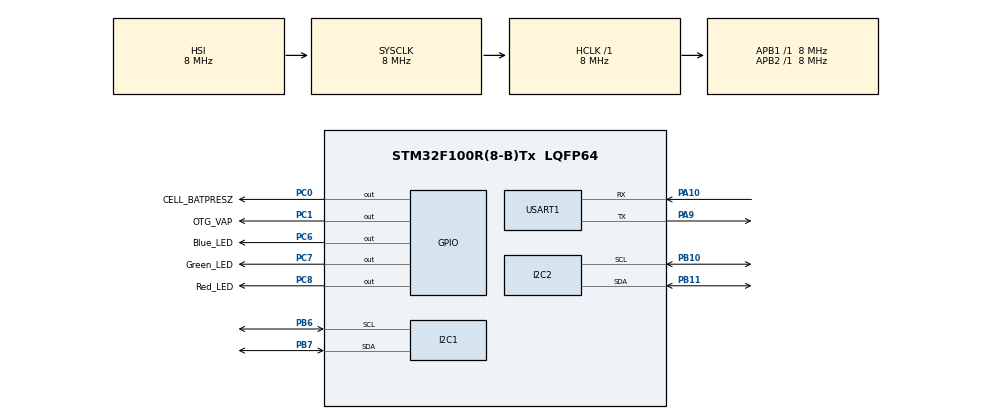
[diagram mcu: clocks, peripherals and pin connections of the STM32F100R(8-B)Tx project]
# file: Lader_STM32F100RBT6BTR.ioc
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Dma.Request0=USART1_RX
Dma.USART1_RX.0.Direction=DMA_PERIPH_TO_MEMORY
Dma.USART1_RX.0.Instance=DMA1_Channel5
Dma.USART1_RX.0.MemDataAlignment=DMA_MDATAALIGN_BYTE
Dma.USART1_RX.0.MemInc=DMA_MINC_DISABLE
Dma.USART1_RX.0.Mode=DMA_CIRCULAR
Dma.USART1_RX.0.PeriphDataAlignment=DMA_PDATAALIGN_BYTE
Dma.USART1_RX.0.PeriphInc=DMA_PINC_DISABLE
Dma.USART1_RX.0.Priority=DMA_PRIORITY_LOW
Mcu.Family=STM32F1
Mcu.Name=STM32F100R(8-B)Tx
Mcu.Package=LQFP64
NVIC.DMA1_Channel5_IRQn=true\:0\:0\:false\:false\:true\:false\:true
NVIC.PriorityGroup=NVIC_PRIORITYGROUP_4
NVIC.USART1_IRQn=true\:0\:0\:false\:false\:true\:true\:true
PA10.Mode=Asynchronous
PA10.Signal=USART1_RX
PA13.Mode=Serial_Wire
PA13.Signal=SYS_JTMS-SWDIO
PA14.Mode=Serial_Wire
PA14.Signal=SYS_JTCK-SWCLK
PA9.Mode=Asynchronous
PA9.Signal=USART1_TX
PB10.Mode=I2C
PB10.Signal=I2C2_SCL
PB11.Mode=I2C
PB11.Signal=I2C2_SDA
PB6.Mode=I2C
PB6.Signal=I2C1_SCL
PB7.Mode=I2C
PB7.Signal=I2C1_SDA
PC0.GPIO_Label=CELL_BATPRESZ
PC0.PinState=GPIO_PIN_SET
PC0.Signal=GPIO_Output
PC1.GPIO_Label=OTG_VAP
PC1.Signal=GPIO_Output
PC6.GPIO_Label=Blue_LED
PC6.PinState=GPIO_PIN_SET
PC6.Signal=GPIO_Output
PC7.GPIO_Label=Green_LED
PC7.PinState=GPIO_PIN_SET
PC7.Signal=GPIO_Output
PC8.GPIO_Label=Red_LED
PC8.PinState=GPIO_PIN_SET
PC8.Signal=GPIO_Output
ProjectManager.HeapSize=0x200
ProjectManager.StackSize=0x400
ProjectManager.TargetToolchain=STM32CubeIDE
RCC.AHBFreq_Value=8000000
RCC.APB1Freq_Value=8000000
RCC.APB1TimFreq_Value=8000000
RCC.APB2Freq_Value=8000000
RCC.APB2TimFreq_Value=8000000
RCC.HCLKFreq_Value=8000000
RCC.HSE_VALUE=24000000
RCC.SYSCLKFreq_VALUE=8000000
USART1.VirtualMode=VM_ASYNC
board=custom

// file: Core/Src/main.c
/* USER CODE BEGIN Header */
/**
 ******************************************************************************
 * @file           : main.c
 * @brief          : Main program body
 ******************************************************************************
 * @attention
 *
 * <h2><center>&copy; Copyright (c) 2021 STMicroelectronics.
 * All rights reserved.</center></h2>
 *
 * This software component is licensed by ST under BSD 3-Clause license,
 * the "License"; You may not use this file except in compliance with the
 * License. You may obtain a copy of the License at:
 *                        opensource.org/licenses/BSD-3-Clause
 *
 ******************************************************************************
 */
/* USER CODE END Header */
#include "main.h"

/* USER CODE BEGIN Includes */
#include <stdio.h>
#include "AT_Comands_variables.h"
#include "string.h"
#include "BQ25713.h"
/* USER CODE END Includes */

/* USER CODE BEGIN PD */
#define RxBufferLength 	24
/* USER CODE END PD */

I2C_HandleTypeDef hi2c1;
I2C_HandleTypeDef hi2c2;

UART_HandleTypeDef huart1;
DMA_HandleTypeDef hdma_usart1_rx;

/* USER CODE BEGIN PV */
uint8_t rxBuffer[RxBufferLength];
uint8_t rxByte;
uint16_t rxIdx;
uint8_t rxFlag;
uint8_t data_input[2];
uint8_t current[2];
/* USER CODE END PV */

void SystemClock_Config(void);
static void MX_GPIO_Init(void);
static void MX_DMA_Init(void);
static void MX_I2C1_Init(void);
static void MX_USART1_UART_Init(void);
static void MX_I2C2_Init(void);

/* USER CODE BEGIN 0 */
void RGBTurnOff() {
	HAL_GPIO_WritePin(Red_LED_GPIO_Port, Red_LED_Pin, GPIO_PIN_SET);
	HAL_GPIO_WritePin(Green_LED_GPIO_Port, Green_LED_Pin, GPIO_PIN_SET);
	HAL_GPIO_WritePin(Blue_LED_GPIO_Port, Blue_LED_Pin, GPIO_PIN_SET);
}
void RGBTurnRED() {
	HAL_GPIO_WritePin(Red_LED_GPIO_Port, Red_LED_Pin, GPIO_PIN_RESET);
	HAL_GPIO_WritePin(Green_LED_GPIO_Port, Green_LED_Pin, GPIO_PIN_SET);
	HAL_GPIO_WritePin(Blue_LED_GPIO_Port, Blue_LED_Pin, GPIO_PIN_SET);
}
void RGBTurnBlue() {
	HAL_GPIO_WritePin(Red_LED_GPIO_Port, Red_LED_Pin, GPIO_PIN_SET);
	HAL_GPIO_WritePin(Green_LED_GPIO_Port, Green_LED_Pin, GPIO_PIN_SET);
	HAL_GPIO_WritePin(Blue_LED_GPIO_Port, Blue_LED_Pin, GPIO_PIN_RESET);
}
void RGBTurnGreen() {
	HAL_GPIO_WritePin(Red_LED_GPIO_Port, Red_LED_Pin, GPIO_PIN_SET);
	HAL_GPIO_WritePin(Green_LED_GPIO_Port, Green_LED_Pin, GPIO_PIN_RESET);
	HAL_GPIO_WritePin(Blue_LED_GPIO_Port, Blue_LED_Pin, GPIO_PIN_SET);
}

void printDecimal(int data) {
	char buffer1[16];
	HAL_UART_Transmit(&huart1, (uint8_t*) buffer1,
			sprintf(buffer1, "%d\r\n", data), 500);

}

void printFloat(float dataFloat) {
	char buffer1[16];
	HAL_UART_Transmit(&huart1, (uint8_t*) buffer1,
			sprintf(buffer1, "%+.4f\r\n", dataFloat), 500);
}

void printHex(uint16_t data) {
	char buffer[16];
	HAL_UART_Transmit(&huart1, (uint8_t*) buffer,
			sprintf(buffer, "0x%04X\r\n", data), 500);

}
void printString(char *str) {
	HAL_UART_Transmit(&huart1, (uint8_t*) str, strlen(str), 100);
}
void printlnString(char *str) {

	HAL_UART_Transmit(&huart1, (uint8_t*) str, strlen(str), 100);
	printString("\r\n");
}

void printAT_Comand_Error(int errorNr) {
	printString("ERROR ");
	printDecimal(errorNr);
}
int str_cut(char *str, int begin, int len) {
	int l = strlen(str);

	if (len < 0)
		len = l - begin;
	if (begin + len > l)
		len = l - begin;
	memmove(str + begin, str + begin + len, l - len + 1);

	return len;
}

uint32_t stringToInt(char *str) {
	str_cut(str, 4, -1);

	//int l = strlen(str);
	return str[0] << 24 | str[1] << 16 | str[2] << 8 | str[3];

}

void HAL_UART_RxCpltCallback(UART_HandleTypeDef *huart) {
	if (huart->Instance == USART1) {
		__HAL_UART_FLUSH_DRREGISTER(&huart1);
		if (rxByte == 13 || rxByte == 10 || rxIdx >= 23) {
			//rxBuffer[rxIdx] = rxByte;
			rxFlag = 1;
			rxIdx = 0;
		} else {
			rxBuffer[rxIdx] = rxByte;
			rxIdx++;
		}
	}

}
void BQ25713Config() {
	//boot up time
	RGBTurnBlue();
	HAL_Delay(1000); //wait 1000ms to make sure IC is ready

	//data_input[0] = 0x00;
	//data_input[1] = 0x00;
	//setRegBQ25713(&hi2c1, InputVoltageReg, data_input);

	//data_input[0] = 0x08;
	//data_input[1] = 0x75;
	data_input[0] = 0x00;
	data_input[1] = 0x16;
	setRegBQ25713(&hi2c1, ChargeOption0Reg, data_input);

	data_input[0] = 0x19;
	data_input[1] = 0x02;
	setRegBQ25713(&hi2c1, ChargeOption1Reg, data_input);

	//data_input[0] = 0x34;
	//data_input[1] = 0x02;
	data_input[0] = 0x05;
	data_input[1] = 0x02;
	setRegBQ25713(&hi2c1, ChargeOption2Reg, data_input);

	//data_input[0] = 0x38;
	//data_input[1] = 0x28;
	data_input[0] = 0x30;
	data_input[1] = 0x20;
	setRegBQ25713(&hi2c1, ChargeOption3Reg, data_input);

	//data_input[0] = 0x65;
	//data_input[1] = 0xFA;
	//setRegBQ25713(&hi2c1, ProchotOption0Reg, data_input);

	//data_input[0] = 0x7F;
	//data_input[1] = 0xA0;
	//setRegBQ25713(&hi2c1, ADCOptionReg, data_input);

	//data_input[0] = 0xC0;
	//data_input[1] = 0x1F;
	//setRegBQ25713(&hi2c1, IIN_DPMReg, data_input);

	data_input[0] = 0xFF;
	data_input[1] = 0x7F;
	setRegBQ25713(&hi2c1, IIN_HOSTReg, data_input);

	//data_input[0] = 0x40;
	//data_input[1] = 0x00;
	//setRegBQ25713(&hi2c1, ChargeCurrentReg, data_input);

	//HAL_I2C_Mem_Write(&hi2c1, BQ25713Address, ChargeCurrentReg, 1, data_input,2, 100);

	//HAL_I2C_DeInit(&hi2c1);
	//HAL_I2C_Init(&hi2c2);

	//set CELL_BATPRESZ_Pin -> auto disable IDPM
	HAL_GPIO_WritePin(CELL_BATPRESZ_GPIO_Port, CELL_BATPRESZ_Pin, GPIO_PIN_SET);
	HAL_GPIO_WritePin(OTG_VAP_GPIO_Port, OTG_VAP_Pin, GPIO_PIN_RESET);

	RGBTurnOff();
}

/* USER CODE END 0 */

int main(void) {

	/* MCU Configuration--------------------------------------------------------*/

	/* Reset of all peripherals, Initializes the Flash interface and the Systick. */
	HAL_Init();

	/* Configure the system clock */
	SystemClock_Config();

	/* Initialize all configured peripherals */
	MX_GPIO_Init();
	MX_DMA_Init();
	MX_I2C1_Init();
	MX_USART1_UART_Init();
	MX_I2C2_Init();
	/* USER CODE BEGIN 2 */
	HAL_I2C_Init(&hi2c1);

	__HAL_UART_FLUSH_DRREGISTER(&huart1);
	HAL_UART_Receive_DMA(&huart1, &rxByte, 1);

	BQ25713Config();
	/* USER CODE END 2 */

	/* Infinite loop */
	/* USER CODE BEGIN WHILE */
	while (1) {
		/* uint8_t start[10];
		 HAL_I2C_Mem_Read(&hi2c2, 0x50, 0x0D, 1, start, 10, 100);
		 HAL_Delay(100);

		 uint8_t Device_ID[2];
		 HAL_I2C_Mem_Read(&hi2c2, 0x50, 0x2F, 1, Device_ID, 1, 100);
		 HAL_Delay(100);*/
		/*
		 uint8_t data_in[2];
		 data_in[0] = 0x01;

		 HAL_I2C_Mem_Read(&hi2c1, 0xD6, 0x0E, 1, data_in, 2, 100);
		 HAL_Delay(100);
		 uint8_t ChargeOption0[2];
		 HAL_I2C_Mem_Read(&hi2c1, 0xD6, 0x00, 1, ChargeOption0, 2, 100);
		 HAL_Delay(100);
		 uint8_t ChargeCurrent[2];
		 HAL_I2C_Mem_Read(&hi2c1, 0xD6, 0x02, 1, ChargeCurrent, 2, 100);
		 HAL_Delay(100);
		 uint8_t ChargeVoltage[2];
		 HAL_I2C_Mem_Read(&hi2c1, 0xD6, 0x04, 1, ChargeVoltage, 2, 100);
		 HAL_Delay(100);

		 //HAL_I2C_Mem_Write(&hi2c1, 0xD6, 0x02, 1, data_input, 2, 100);
		 HAL_I2C_Mem_Read(&hi2c1, 0xD6, 0x02, 1, ChargeCurrent, 2, 100);
		 HAL_Delay(100);
		 */
		//setRegBQ25713(&hi2c1, 0x0F, data_input);
		//	  HAL_I2C_Mem_Write(&hi2c1, 0xD6, 0x0E, 1, data_input, 2, 100);
		RGBTurnRED();
		HAL_Delay(500);
		RGBTurnOff();
		HAL_Delay(500);

		if (rxFlag == 1) {
			RGBTurnRED();
			rxFlag = 0;

			printlnString(rxBuffer);

			if (rxBuffer[0] == 'A' && rxBuffer[1] == 'T'
					&& rxBuffer[2] == '+') {
				str_cut(rxBuffer, 0, 3); //cut AT+ off
				//printlnString(rxBuffer);

				switch (stringToInt(rxBuffer)) {
				case 'O' << 24 | 'K' << 16 | '?' << 8 | 0:
					printlnString("OK");
					break;
				case 'O' << 24 | 'V' << 16 | '?' << 8 | 0:
					printlnString("Overview:\r\n");

					printlnString("ChargeOption0: [Hex]");
					printHex(getChargeOption0(&hi2c1));
					printlnString("ChargeCurrent: [Hex]");
					printHex(getChargeCurrent(&hi2c1));
					printlnString("MaxChargeVoltage: [Hex]");
					printHex(getMaxChargeVoltage(&hi2c1));
					printlnString("ChargeOption1: [Hex]");
					printHex(getChargeOption1(&hi2c1));
					printlnString("ChargeOption2: [Hex]");
					printHex(getChargeOption2(&hi2c1));
					printlnString("ChargeOption3: [Hex]");
					printHex(getChargeOption3(&hi2c1));
					printlnString("ProchotOption0: [Hex]");
					printHex(getProchotOption0(&hi2c1));
					printlnString("ProchotOption1: [Hex]");
					printHex(getProchotOption1(&hi2c1));
					printlnString("ADCOption: [Hex]");
					printHex(getADCOption(&hi2c1));
					printlnString("ChargerStatus: [Hex]");
					printHex(getChargerStatus(&hi2c1));
					printlnString("ProchotStatus: [Hex]");
					printHex(getProchotStatus(&hi2c1));
					printlnString("IIN_DPM: [Hex]");
					printHex(getIIN_DPM(&hi2c1));
					printlnString("ADC_VBUS_PSYS: [Hex]");
					printHex(getADC_VBUS_PSYS(&hi2c1));
					printlnString("ADC_IBAT: [Hex]");
					printHex(getADC_IBAT(&hi2c1));
					printlnString("ADC_IINCMPIN: [Hex]");
					printHex(getADC_IINCMPIN(&hi2c1));
					printlnString("ADC_VSYS_VBAT: [Hex]");
					printHex(getADC_VSYS_VBAT(&hi2c1));
					printlnString("OTGVoltage: [Hex]");
					printHex(getOTGVoltage(&hi2c1));
					printlnString("OTGCurrent: [Hex]");
					printHex(getOTGCurrent(&hi2c1));
					printlnString("InputVoltage: [Hex]");
					printHex(getInputVoltage(&hi2c1));
					printlnString("MinSystemVoltage: [Hex]");
					printHex(getMinSystemVoltage(&hi2c1));
					printlnString("IIN_HOST: [Hex]");
					printHex(getIIN_HOST(&hi2c1));

					break;
				case 'R' << 24 | 'S' << 16 | 'I' << 8 | 'V':
					data_input[0] = 0x00;
					data_input[1] = 0x06; //zet dit ies wa hoger dan 3.2V (bij 00h) 06h -> 3.2V+1,024+0,512 = 4,736V
					setRegBQ25713(&hi2c1, InputVoltageReg, data_input);
					printlnString("RSIV");
					break;
				case 'R' << 24 | 'S' << 16 | 'M' << 8 | 'V':
					data_input[0] = 0x80;
					data_input[1] = 0x41; // set voltage to 16,768V
					setRegBQ25713(&hi2c1, MaxChargeVoltageReg, data_input);
					printlnString("RSMV");
					break;

				case 'I' << 24 | 'N' << 16 | 'T' << 8 | 0:
					BQ25713Config();
					printlnString("INT");
					break;
				case 'R' << 24 | 'S' << 16 | 'T' << 8 | 'V':
					data_input[0] = 0x30;
					data_input[1] = 0x20;
					setRegBQ25713(&hi2c1, ChargeOption3Reg, data_input);
					printlnString("RSTV");
					break;
				case 'R' << 24 | 'S' << 16 | 'T' << 8 | 'P':
					data_input[0] = 0x00;
					data_input[1] = 0x20;
					setRegBQ25713(&hi2c1, ProchotStatusReg, data_input);
					printlnString("RSTP");
					break;
				case 'C' << 24 | 'U' << 16 | 'R' << 8 | '0':

					current[0] = 0x00;
					current[1] = 0x00;
					setRegBQ25713(&hi2c1, ChargeCurrentReg, current);
					printlnString("CUR=0: OK");
					break;
				case 'C' << 24 | 'U' << 16 | 'R' << 8 | '1':

					current[0] = 0x40;
					current[1] = 0x00;
					setRegBQ25713(&hi2c1, ChargeCurrentReg, current);
					printlnString("CUR=1: OK");
					break;
				case 'C' << 24 | 'U' << 16 | 'R' << 8 | '2':

					current[0] = 0x80;
					current[1] = 0x00;
					setRegBQ25713(&hi2c1, ChargeCurrentReg, current);
					printlnString("CUR=2: OK");
					break;
				case 'C' << 24 | 'U' << 16 | 'R' << 8 | '3':

					current[0] = 0x00;
					current[1] = 0x01;
					setRegBQ25713(&hi2c1, ChargeCurrentReg, current);
					printlnString("CUR=3: OK");
					break;
				case 'C' << 24 | 'U' << 16 | 'R' << 8 | '4':

					current[0] = 0x00;
					current[1] = 0x02;
					setRegBQ25713(&hi2c1, ChargeCurrentReg, current);
					printlnString("CUR=4: OK");
					break;
				case 'C' << 24 | 'U' << 16 | 'R' << 8 | '5':

					current[0] = 0x00;
					current[1] = 0x04;
					setRegBQ25713(&hi2c1, ChargeCurrentReg, current);
					printlnString("CUR=5: OK");
					break;
				case 'C' << 24 | 'U' << 16 | 'R' << 8 | '6':

					current[0] = 0x00;
					current[1] = 0x08;
					setRegBQ25713(&hi2c1, ChargeCurrentReg, current);
					printlnString("CUR=6: OK");
					break;
				case 'C' << 24 | 'U' << 16 | 'R' << 8 | '7':

					current[0] = 0x00;
					current[1] = 0x10;
					setRegBQ25713(&hi2c1, ChargeCurrentReg, current);
					printlnString("CUR=7: OK");
					break;
				case 'C' << 24 | 'U' << 16 | 'R' << 8 | '8':

					current[0] = 0x00;
					current[1] = 0x18;
					setRegBQ25713(&hi2c1, ChargeCurrentReg, current);
					printlnString("CUR=8: OK");
					break;
				case 'C' << 24 | 'U' << 16 | 'R' << 8 | '9':

					current[0] = 0x00;
					current[1] = 0x1C;
					setRegBQ25713(&hi2c1, ChargeCurrentReg, current);
					printlnString("CUR=9: OK");
					break;
				case 'C' << 24 | 'U' << 16 | 'R' << 8 | 'A':

					current[0] = 0xC0;
					current[1] = 0x1F;
					setRegBQ25713(&hi2c1, ChargeCurrentReg, current);
					printlnString("CUR=A: OK");
					break;

				default:
					printAT_Comand_Error(AT_WRONG_COMMAND);
					break;
				}

			} else
				printAT_Comand_Error(AT_WRONG_COMMAND);

			for (int var = 0; var < RxBufferLength; var++) {
				rxBuffer[var] = 0;
			}
			RGBTurnOff();
		}
		setRegBQ25713(&hi2c1, ChargeCurrentReg, current);
		/* USER CODE END WHILE */

		/* USER CODE BEGIN 3 */
		/* USER CODE BEGIN 3 */
	}
	/* USER CODE END 3 */
}

void SystemClock_Config(void) {
	RCC_OscInitTypeDef RCC_OscInitStruct = { 0 };
	RCC_ClkInitTypeDef RCC_ClkInitStruct = { 0 };

	/** Initializes the RCC Oscillators according to the specified parameters
	 * in the RCC_OscInitTypeDef structure.
	 */
	RCC_OscInitStruct.OscillatorType = RCC_OSCILLATORTYPE_HSI;
	RCC_OscInitStruct.HSIState = RCC_HSI_ON;
	RCC_OscInitStruct.HSICalibrationValue = RCC_HSICALIBRATION_DEFAULT;
	RCC_OscInitStruct.PLL.PLLState = RCC_PLL_NONE;
	if (HAL_RCC_OscConfig(&RCC_OscInitStruct) != HAL_OK) {
		Error_Handler();
	}
	/** Initializes the CPU, AHB and APB buses clocks
	 */
	RCC_ClkInitStruct.ClockType = RCC_CLOCKTYPE_HCLK | RCC_CLOCKTYPE_SYSCLK
			| RCC_CLOCKTYPE_PCLK1 | RCC_CLOCKTYPE_PCLK2;
	RCC_ClkInitStruct.SYSCLKSource = RCC_SYSCLKSOURCE_HSI;
	RCC_ClkInitStruct.AHBCLKDivider = RCC_SYSCLK_DIV1;
	RCC_ClkInitStruct.APB1CLKDivider = RCC_HCLK_DIV1;
	RCC_ClkInitStruct.APB2CLKDivider = RCC_HCLK_DIV1;

	if (HAL_RCC_ClockConfig(&RCC_ClkInitStruct, FLASH_LATENCY_0) != HAL_OK) {
		Error_Handler();
	}
}

static void MX_I2C1_Init(void) {

	hi2c1.Instance = I2C1;
	hi2c1.Init.ClockSpeed = 100000;
	hi2c1.Init.DutyCycle = I2C_DUTYCYCLE_2;
	hi2c1.Init.OwnAddress1 = 0;
	hi2c1.Init.AddressingMode = I2C_ADDRESSINGMODE_7BIT;
	hi2c1.Init.DualAddressMode = I2C_DUALADDRESS_DISABLE;
	hi2c1.Init.OwnAddress2 = 0;
	hi2c1.Init.GeneralCallMode = I2C_GENERALCALL_DISABLE;
	hi2c1.Init.NoStretchMode = I2C_NOSTRETCH_DISABLE;
	if (HAL_I2C_Init(&hi2c1) != HAL_OK) {
		Error_Handler();
	}

}

static void MX_I2C2_Init(void) {

	hi2c2.Instance = I2C2;
	hi2c2.Init.ClockSpeed = 100000;
	hi2c2.Init.DutyCycle = I2C_DUTYCYCLE_2;
	hi2c2.Init.OwnAddress1 = 0;
	hi2c2.Init.AddressingMode = I2C_ADDRESSINGMODE_7BIT;
	hi2c2.Init.DualAddressMode = I2C_DUALADDRESS_DISABLE;
	hi2c2.Init.OwnAddress2 = 0;
	hi2c2.Init.GeneralCallMode = I2C_GENERALCALL_DISABLE;
	hi2c2.Init.NoStretchMode = I2C_NOSTRETCH_DISABLE;
	if (HAL_I2C_Init(&hi2c2) != HAL_OK) {
		Error_Handler();
	}

}

static void MX_USART1_UART_Init(void) {

	huart1.Instance = USART1;
	huart1.Init.BaudRate = 115200;
	huart1.Init.WordLength = UART_WORDLENGTH_8B;
	huart1.Init.StopBits = UART_STOPBITS_1;
	huart1.Init.Parity = UART_PARITY_NONE;
	huart1.Init.Mode = UART_MODE_TX_RX;
	huart1.Init.HwFlowCtl = UART_HWCONTROL_NONE;
	huart1.Init.OverSampling = UART_OVERSAMPLING_16;
	if (HAL_UART_Init(&huart1) != HAL_OK) {
		Error_Handler();
	}

}

static void MX_DMA_Init(void) {

	/* DMA controller clock enable */
	__HAL_RCC_DMA1_CLK_ENABLE();

	/* DMA interrupt init */
	/* DMA1_Channel5_IRQn interrupt configuration */
	HAL_NVIC_SetPriority(DMA1_Channel5_IRQn, 0, 0);
	HAL_NVIC_EnableIRQ(DMA1_Channel5_IRQn);

}

static void MX_GPIO_Init(void) {
	GPIO_InitTypeDef GPIO_InitStruct = { 0 };

	/* GPIO Ports Clock Enable */
	__HAL_RCC_GPIOC_CLK_ENABLE();
	__HAL_RCC_GPIOB_CLK_ENABLE();
	__HAL_RCC_GPIOA_CLK_ENABLE();

	/*Configure GPIO pin Output Level */
	HAL_GPIO_WritePin(GPIOC,
	CELL_BATPRESZ_Pin | Blue_LED_Pin | Green_LED_Pin | Red_LED_Pin,
			GPIO_PIN_SET);

	/*Configure GPIO pin Output Level */
	HAL_GPIO_WritePin(OTG_VAP_GPIO_Port, OTG_VAP_Pin, GPIO_PIN_RESET);

	/*Configure GPIO pins : CELL_BATPRESZ_Pin OTG_VAP_Pin Blue_LED_Pin Green_LED_Pin
	 Red_LED_Pin */
	GPIO_InitStruct.Pin = CELL_BATPRESZ_Pin | OTG_VAP_Pin | Blue_LED_Pin
			| Green_LED_Pin | Red_LED_Pin;
	GPIO_InitStruct.Mode = GPIO_MODE_OUTPUT_PP;
	GPIO_InitStruct.Pull = GPIO_NOPULL;
	GPIO_InitStruct.Speed = GPIO_SPEED_FREQ_LOW;
	HAL_GPIO_Init(GPIOC, &GPIO_InitStruct);

}

void Error_Handler(void) {
	__disable_irq();
	while (1) {
	}
}

/************************ (C) COPYRIGHT STMicroelectronics *****END OF FILE****/
